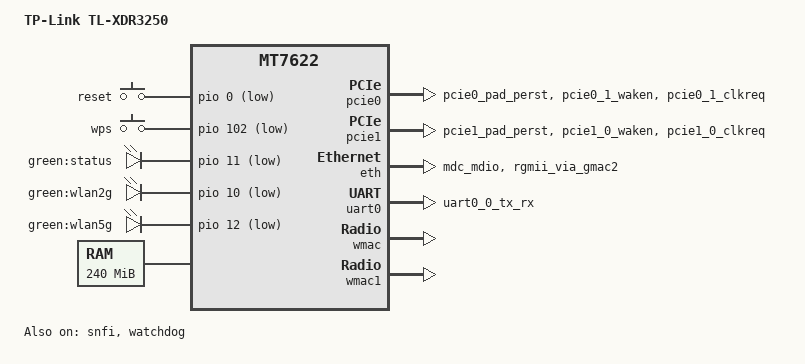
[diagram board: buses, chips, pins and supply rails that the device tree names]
// SPDX-License-Identifier: GPL-2.0-or-later OR MIT

/dts-v1/;
#include "mt7622.dtsi"
#include "mt6380.dtsi"
#include <dt-bindings/gpio/gpio.h>
#include <dt-bindings/input/input.h>

/ {
	model = "TP-Link TL-XDR3250";
	compatible = "tplink,tl-xdr3250", "mediatek,mt7622";

	aliases {
		ethernet0 = &gmac0;
		label-mac-device = &gmac0;
		led-boot = &led_status;
		led-failsafe = &led_status;
		led-running = &led_status;
		led-upgrade = &led_status;
		serial0 = &uart0;
	};

	chosen {
		stdout-path = "serial0:115200n8";
		bootargs = "earlycon=uart8250,mmio32,0x11002000 console=ttyS0,115200n8 swiotlb=512";
	};

	cpus {
		cpu@0 {
			proc-supply = <&mt6380_vcpu_reg>;
			sram-supply = <&mt6380_vm_reg>;
		};

		cpu@1 {
			proc-supply = <&mt6380_vcpu_reg>;
			sram-supply = <&mt6380_vm_reg>;
		};
	};

	gpio-keys {
		compatible = "gpio-keys";

		reset {
			gpios = <&pio 0 GPIO_ACTIVE_LOW>;
			label = "reset";
			linux,code = <KEY_RESTART>;
		};

		wps {
			gpios = <&pio 102 GPIO_ACTIVE_LOW>;
			label = "wps";
			linux,code = <KEY_WPS_BUTTON>;
		};
	};

	gpio-leds {
		compatible = "gpio-leds";

		led_status: status {
			gpios = <&pio 11 GPIO_ACTIVE_LOW>;
			label = "green:status";
		};

		led_wlan2g {
			gpios = <&pio 10 GPIO_ACTIVE_LOW>;
			label = "green:wlan2g";
			linux,default-trigger = "phy0tpt";
		};

		led_wlan5g {
			gpios = <&pio 12 GPIO_ACTIVE_LOW>;
			label = "green:wlan5g";
			linux,default-trigger = "phy1tpt";
		};
	};

	memory@40000000 {
		reg = <0 0x40000000 0 0x0f000000>;
		device_type = "memory";
	};

	rtl8367s {
		compatible = "realtek,rtl8367b";
		realtek,extif = <6 1 0 1 1 1 1 1 1 2>;
		mii-bus = <&mdio0>;
	};
};

&pcie0 {
	pinctrl-names = "default";
	pinctrl-0 = <&pcie0_pins>;
	status = "okay";
};

&pcie1 {
	pinctrl-names = "default";
	pinctrl-0 = <&pcie1_pins>;
	status = "okay";
};

&pio {
	eth_pins: eth-pins {
		mux {
			function = "eth";
			groups = "mdc_mdio", "rgmii_via_gmac2";
		};
	};

	pcie0_pins: pcie0-pins {
		mux {
			function = "pcie";
			groups = "pcie0_pad_perst",
				 "pcie0_1_waken",
				 "pcie0_1_clkreq";
		};
	};

	pcie1_pins: pcie1-pins {
		mux {
			function = "pcie";
			groups = "pcie1_pad_perst",
				 "pcie1_0_waken",
				 "pcie1_0_clkreq";
		};
	};

	pmic_bus_pins: pmic-bus-pins {
		mux {
			function = "pmic";
			groups = "pmic_bus";
		};
	};

	serial_nand_pins: serial-nand-pins {
		mux {
			function = "flash";
			groups = "snfi";
		};
	};

	uart0_pins: uart0-pins {
		mux {
			function = "uart";
			groups = "uart0_0_tx_rx";
		};
	};

	watchdog_pins: watchdog-pins {
		mux {
			function = "watchdog";
			groups = "watchdog";
		};
	};
};

&pwrap {
	pinctrl-names = "default";
	pinctrl-0 = <&pmic_bus_pins>;
	status = "okay";
};

&snfi {
	pinctrl-names = "default";
	pinctrl-0 = <&serial_nand_pins>;
	status = "okay";
	
	partitions {
		compatible = "fixed-partitions";
		#address-cells = <1>;
		#size-cells = <1>;

		partition@0 {
			label = "BL2";
			reg = <0x0 0x80000>;
			read-only;
		};

		partition@80000 {
			label = "Preloader";
			reg = <0x80000 0x40000>;
			read-only;
		};

		partition@c0000 {
			label = "ATF";
			reg = <0xc0000 0x80000>;
			read-only;
		};

		partition@140000 {
			label = "u-boot";
			reg = <0x140000 0x80000>;
			read-only;
		};

		partition@1c0000 {
			label = "u-boot-env";
			reg = <0x1c0000 0x80000>;
		};

		partition@240000 {
			label = "factory";
			reg = <0x240000 0x80000>;
			read-only;

			nvmem-layout {
				compatible = "fixed-layout";
				#address-cells = <1>;
				#size-cells = <1>;

				eeprom_factory_0: eeprom@0 {
					reg = <0x0 0x1000>;
				};

				eeprom_factory_5000: eeprom@5000 {
					reg = <0x5000 0x1000>;
				};

				macaddr_factory_4: macaddr@4 {
					reg = <0x4 0x6>;
				};
			};
		};

		partition@2c0000 {
			label = "kernel";
			reg = <0x2c0000 0x400000>;
		};

		partition@6c0000 {
			label = "ubi";
			reg = <0x6c0000 0x7940000>;
		};
	};
};

&eth {
	pinctrl-names = "default";
	pinctrl-0 = <&eth_pins>;
	status = "okay";

	gmac0: mac@0 {
		compatible = "mediatek,eth-mac";
		nvmem-cells = <&macaddr_factory_4>;
		nvmem-cell-names = "mac-address";
		phy-mode = "rgmii";
		reg = <0>;

		fixed-link {
			full-duplex;
			pause;
			speed = <1000>;
		};
	};

	mdio0: mdio-bus {
		#address-cells = <1>;
		#size-cells = <0>;
	};
};

&uart0 {
	pinctrl-names = "default";
	pinctrl-0 = <&uart0_pins>;
	status = "okay";
};

&watchdog {
	pinctrl-names = "default";
	pinctrl-0 = <&watchdog_pins>;
	status = "okay";
};

&wmac {
	nvmem-cells = <&eeprom_factory_0>;
	nvmem-cell-names = "eeprom";
	status = "okay";
};

&wmac1 {
	nvmem-cells = <&eeprom_factory_5000>;
	nvmem-cell-names = "eeprom";
	status = "okay";
};
